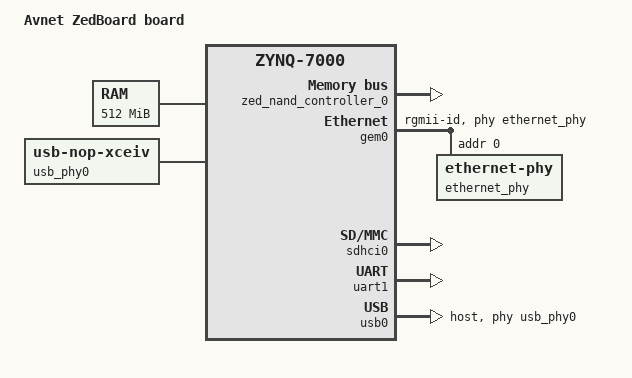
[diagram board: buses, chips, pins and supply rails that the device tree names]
// SPDX-License-Identifier: GPL-2.0
/*
 *  Copyright (C) 2011 - 2014 Xilinx
 *  Copyright (C) 2012 National Instruments Corp.
 */
/dts-v1/;
#include "zynq-7000.dtsi"

/ {
	model = "Avnet ZedBoard board";
	compatible = "avnet,zynq-zed", "xlnx,zynq-zed", "xlnx,zynq-7000";

	aliases {
		ethernet0 = &gem0;
		serial0 = &uart1;
		mmc0 = &sdhci0;
	};

	memory@0 {
		device_type = "memory";
		reg = <0x0 0x20000000>;
	};

	chosen {
		bootargs = "";
		stdout-path = "serial0:115200n8";
	};

	usb_phy0: phy0 {
		compatible = "usb-nop-xceiv";
		#phy-cells = <0>;
	};
        /* This is node of zedboard pl nand controller developped by EBU. */
        zed_nand_controller_0: zed_micron_nand@7aa00000 {
                #address-cells = <1>;
                #size-cells = <1>;
                compatible = "xlnx,Zed-Hspeed-Nand-1.0";
                interrupt-parent = <&intc>;
                interrupts = <0 57 4>; /* correspond IRQ 89*/
                reg = <0x7aa00000 0x100>, <0x7ab00000 0x100>,
                        <0x7ac00000 0x100>, <0x40400000 0x100>;
                xlnx,nand-width = <8>;
                zed,nand-mode = <0>;
                /*zed,nand-has-dma;*/
                partition@0 {
                        label = "test0-256MB";
                        reg = <0x00000000 0x10000000>;
                };
                partition@1 {
                        label = "test1-256MB";
                        reg = <0x10000000 0x10000000>;
                };
	};
		
};

&clkc {
	ps-clk-frequency = <33333333>;
};

&gem0 {
	status = "okay";
	phy-mode = "rgmii-id";
	phy-handle = <&ethernet_phy>;

	ethernet_phy: ethernet-phy@0 {
		reg = <0>;
		device_type = "ethernet-phy";
	};
};

&sdhci0 {
	status = "okay";
};

&uart1 {
	status = "okay";
};

&usb0 {
	status = "okay";
	dr_mode = "host";
	usb-phy = <&usb_phy0>;
};
